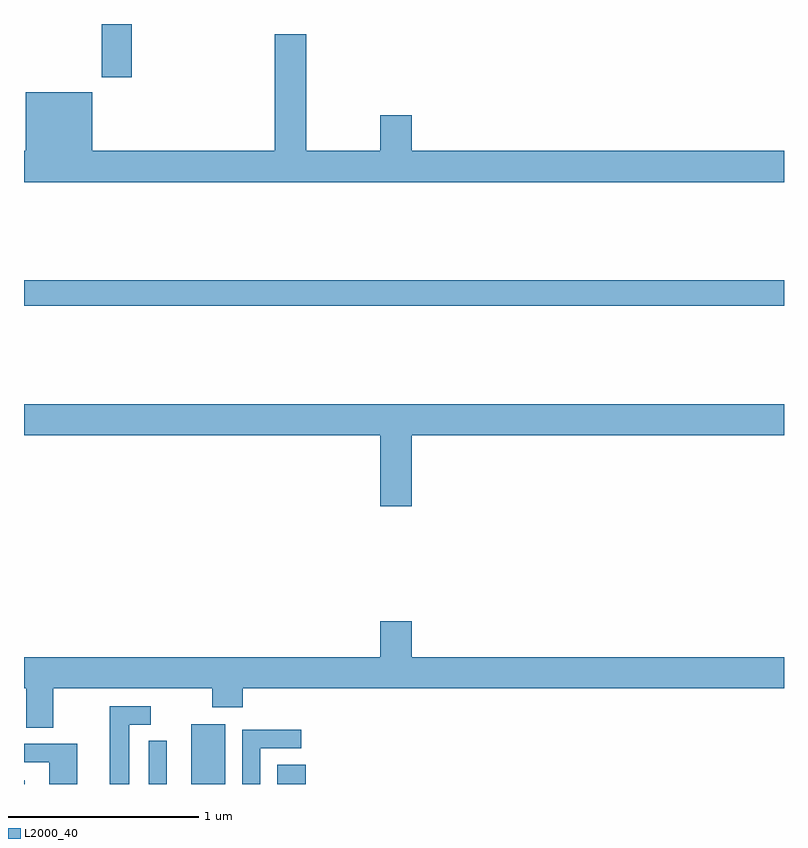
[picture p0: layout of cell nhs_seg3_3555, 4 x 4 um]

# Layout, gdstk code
import gdstk
lib = gdstk.Library(unit=1e-6, precision=1e-09)
def R(c, l, rs):  # rectangles x0, y0, x1, y1
    for r in rs: c.add(gdstk.rectangle(r[:2], r[2:], *l))
def P(c, l, *ps):  # polygons
    for p in ps: c.add(gdstk.Polygon(p, *l))
L2000_40 = (2000, 40)

nhs_seg3_3555 = lib.new_cell('nhs_seg3_3555')
R(nhs_seg3_3555, L2000_40, [(295,712.4,295.003,712.42), (295.88,712.4,296.059,712.714), (296.333,712.4,296.483,712.502), (295,714.916,299,715.052), (295.408,716.121,295.568,716.4)])
P(nhs_seg3_3555, L2000_40, [(299,715.732),(297.04,715.732),(297.04,715.921),(296.876,715.921),(296.876,715.732),(296.485,715.732),(296.485,716.347),(296.321,716.347),(296.321,715.732),(295.36,715.732),(295.36,716.041),(295.01,716.041),(295.01,715.732),(295,715.732),(295,715.568),(299,715.568)],
  [(297.04,714.236),(299,714.236),(299,714.4),(295,714.4),(295,714.236),(296.876,714.236),(296.876,713.862),(297.04,713.862)],
  [(295.153,712.904),(295.99,712.904),(295.99,712.805),(296.15,712.805),(296.15,712.904),(299,712.904),(299,713.068),(297.04,713.068),(297.04,713.257),(296.876,713.257),(296.876,713.068),(295,713.068),(295,712.904),(295.013,712.904),(295.013,712.696),(295.153,712.696)],
  [(295.555,712.713),(295.666,712.713),(295.666,712.809),(295.451,712.809),(295.451,712.4),(295.555,712.4)],
  [(296.244,712.587),(296.458,712.587),(296.458,712.686),(296.148,712.686),(296.148,712.4),(296.244,712.4)],
  [(295.751,712.474),(295.752,712.474),(295.752,712.628),(295.656,712.628),(295.656,712.4),(295.751,712.4)],
  [(295.279,712.611),(295,712.611),(295,712.515),(295.134,712.515),(295.134,712.4),(295.279,712.4)])

lib.write_gds('nhs_seg3_3555.gds')
